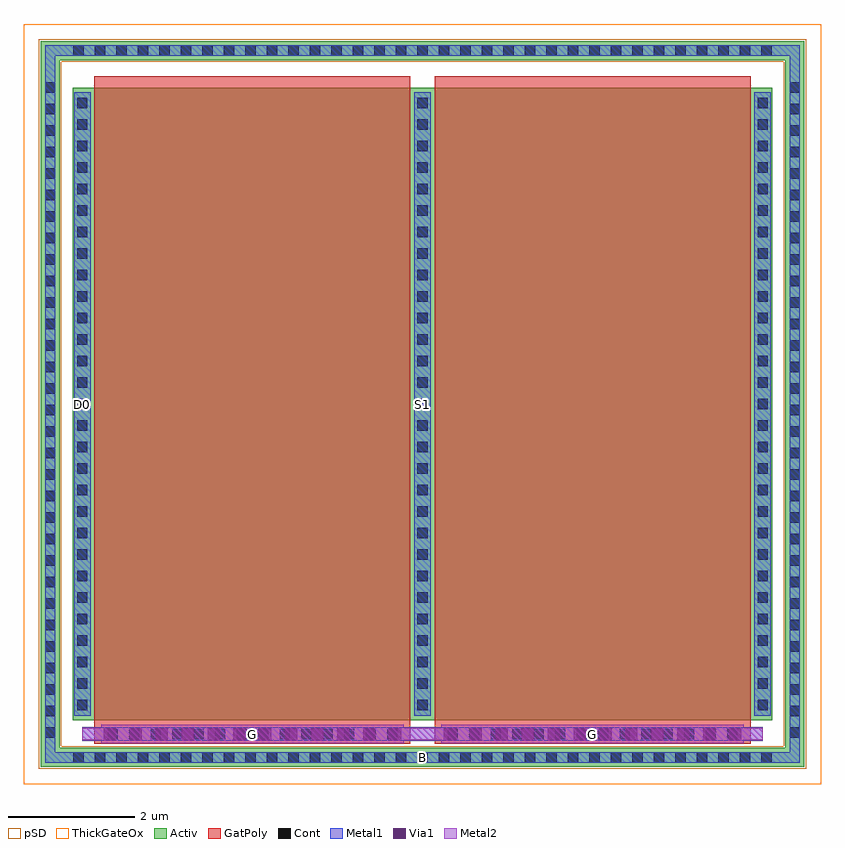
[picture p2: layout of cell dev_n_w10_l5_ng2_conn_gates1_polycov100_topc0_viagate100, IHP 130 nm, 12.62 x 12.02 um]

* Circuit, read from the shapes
.subckt dev_n_w10_l5_ng2_conn_gates1_polycov100_topc0_viagate100 B D0 G S1
XM1 S1 G D0 B sg13_hv_nmos w=10u l=5u
XM2 n1 G S1 B sg13_hv_nmos w=10u l=5u
.ends

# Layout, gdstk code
import gdstk
lib = gdstk.Library(unit=1e-6, precision=1e-09)
def R(c, l, rs):  # rectangles x0, y0, x1, y1
    for r in rs: c.add(gdstk.rectangle(r[:2], r[2:], *l))
def A(c, l, x, y, w, h, nx, ny, dx, dy):  # array of equal rectangles
    R(c, l, [(x+i*dx, y+j*dy, x+i*dx+w, y+j*dy+h) for i in range(nx) for j in range(ny)])
Activ = (1, 0)
GatPoly = (5, 0)
Cont = (6, 0)
Metal1 = (8, 0)
Metal2 = (10, 0)
pSD = (14, 0)
Via1 = (19, 0)
ThickGateOx = (44, 0)

dev_n_w10_l5_ng2_conn_ga = lib.new_cell('dev_n_w10_l5_ng2_conn_gates1_polycov100_topc0_viagate100')
R(dev_n_w10_l5_ng2_conn_ga, Activ, [(-6.04,-5.74,6.04,-5.44), (-6.04,-5.44,-5.74,5.44), (5.74,-5.44,6.04,5.44), (-5.53,-5,5.53,5), (-6.04,5.44,6.04,5.74)])
R(dev_n_w10_l5_ng2_conn_ga, GatPoly, [(-5.19,-5.37,-0.19,5.18), (0.19,-5.37,5.19,5.18)])
A(dev_n_w10_l5_ng2_conn_ga, Cont, -5.52, -5.67, 0.16, 0.16, 33, 2, 0.34, 11.18)
A(dev_n_w10_l5_ng2_conn_ga, Cont, -4.98, -5.3, 0.16, 0.16, 14, 1, 0.34, 0)
A(dev_n_w10_l5_ng2_conn_ga, Cont, 0.4, -5.3, 0.16, 0.16, 14, 1, 0.34, 0)
A(dev_n_w10_l5_ng2_conn_ga, Cont, -5.97, -5.275, 0.16, 0.16, 1, 31, 0, 0.34)
A(dev_n_w10_l5_ng2_conn_ga, Cont, 5.81, -5.275, 0.16, 0.16, 1, 31, 0, 0.34)
A(dev_n_w10_l5_ng2_conn_ga, Cont, -5.46, -4.84, 0.16, 0.16, 3, 29, 5.38, 0.34)
A(dev_n_w10_l5_ng2_conn_ga, Metal1, -5.51, -4.93, 0.26, 9.86, 3, 1, 5.38, 0)
R(dev_n_w10_l5_ng2_conn_ga, Metal1, [(-5.97,-5.67,5.97,-5.51), (-5.97,-5.51,-5.81,5.51), (5.81,-5.51,5.97,5.51), (-5.38,-5.325,5.38,-5.115), (-5.97,5.51,5.97,5.67)])
R(dev_n_w10_l5_ng2_conn_ga, Metal2, [(-5.08,-5.365,-0.3,-5.32), (0.3,-5.365,5.08,-5.32), (-5.38,-5.32,5.38,-5.12), (-5.08,-5.12,-0.3,-5.075), (0.3,-5.12,5.08,-5.075)])
R(dev_n_w10_l5_ng2_conn_ga, pSD, [(-6.07,-5.77,6.07,-5.41), (-6.07,-5.41,-5.71,5.41), (5.71,-5.41,6.07,5.41), (-6.07,5.41,6.07,5.77)])
A(dev_n_w10_l5_ng2_conn_ga, Via1, -5.04, -5.315, 0.19, 0.19, 12, 1, 0.41, 0)
A(dev_n_w10_l5_ng2_conn_ga, Via1, 0.34, -5.315, 0.19, 0.19, 12, 1, 0.41, 0)
R(dev_n_w10_l5_ng2_conn_ga, ThickGateOx, [(-6.31,-6.01,6.31,6.01)])
dev_n_w10_l5_ng2_conn_ga.add(gdstk.Label('B', (0,-5.59), layer=8, texttype=25))
dev_n_w10_l5_ng2_conn_ga.add(gdstk.Label('D0', (-5.38,0), layer=8, texttype=25))
dev_n_w10_l5_ng2_conn_ga.add(gdstk.Label('G', (2.69,-5.22), layer=8, texttype=25))
dev_n_w10_l5_ng2_conn_ga.add(gdstk.Label('G', (-2.69,-5.22), layer=8, texttype=25))
dev_n_w10_l5_ng2_conn_ga.add(gdstk.Label('S1', (0,0), layer=8, texttype=25))

lib.write_gds('dev_n_w10_l5_ng2_conn_gates1_polycov100_topc0_viagate100.gds')
